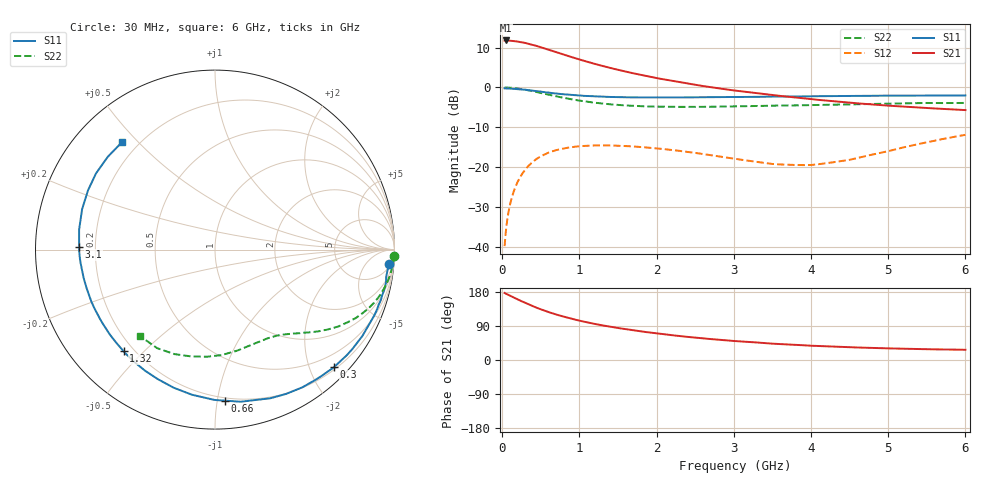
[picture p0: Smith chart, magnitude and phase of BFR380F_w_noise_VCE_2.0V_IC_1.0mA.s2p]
! Infineon Technologies  Discrete & RF Semiconductors
! BFR380F
! VCE =  2.0 V,  IC =  1.0 mA
! Common Emitter S-Parameters:  Nov 2015
# GHz  S  MA  R  50
!  f  S11  S21  S12  S22
! GHz  MAG  ANG  MAG  ANG  MAG  ANG  MAG  ANG
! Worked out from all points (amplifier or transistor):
!   206 points, 30 MHz to 6 GHz, reference 50 ohm
!   highest |S21| = 11.8 dB at 50 MHz (marker M1)
!   |S21| within 3 dB of that: start of sweep to 709.4 MHz
!   unconditionally stable (mu >= 1): 3.084 GHz to 5.249 GHz
!   at 200 MHz: K = 0.05, MSG = 17.6 dB, |S12| = -23.7 dB
!   at 1.56 GHz: K = 0.45, MSG = 9.4 dB, |S12| = -14.7 dB
!   at 6 GHz: K = 0.95, MSG = 3.1 dB, |S12| = -11.9 dB
!   lowest NFmin = 0.89 dB at 450 MHz
!   S11 on the Smith chart (normalised r, x): 30 MHz: 8, -22; 300 MHz: 0.24, -2.42; 660 MHz: 0.18, -1.05; 1.32 GHz: 0.16, -0.44; 3.1 GHz: 0.14, +0.01; 6 GHz: 0.14, +0.45
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0.03  0.972 -4.6  3.859 176.9  0.0101 87.5  0.9973 -2.0
0.05  0.9677 -7.9  3.884 174.3  0.0167 85.4  0.9962 -3.3
0.09  0.9687 -13.8  3.859 170.7  0.0303 82.0  0.9918 -5.9
0.14  0.9614 -21.4  3.825 165.8  0.0466 77.8  0.9829 -9.1
0.2  0.9518 -30.4  3.763 159.7  0.0653 72.6  0.9674 -12.8
0.3  0.9322 -44.6  3.609 150.4  0.0933 64.5  0.9335 -18.6
0.38  0.9115 -55.0  3.442 143.3  0.1124 58.5  0.9009 -22.6
0.45  0.8963 -63.8  3.303 137.4  0.1273 53.8  0.8724 -25.9
0.58  0.862 -78.2  3.012 127.8  0.1483 45.8  0.818 -31.1
0.66  0.8435 -86.2  2.846 122.5  0.1582 41.5  0.7866 -33.8
0.8  0.8188 -99.0  2.576 113.9  0.1715 35.0  0.7371 -38.1
0.9  0.8032 -106.7  2.398 108.6  0.1777 31.0  0.7073 -40.6
1.04  0.7839 -116.3  2.181 102.0  0.1831 26.3  0.6728 -43.6
1.32  0.7617 -132.0  1.835 90.6  0.1866 18.9  0.6229 -49.1
1.64  0.7495 -145.6  1.544 80.0  0.1822 12.9  0.5891 -54.7
2.02  0.747 -157.7  1.296 69.7  0.1704 8.6  0.5724 -61.1
2.58  0.75 -171.3  1.046 57.4  0.1463 7.0  0.5686 -70.8
3.1  0.757 178.9  0.891 48.9  0.123 12.2  0.5781 -79.7
3.6  0.7655 170.0  0.781 42.1  0.1075 24.6  0.59 -88.1
4.1  0.774 161.5  0.696 36.9  0.1083 42.7  0.6 -96.2
5.1  0.7865 145.7  0.581 30.3  0.167 66.4  0.6259 -113.1
6  0.7916 131.0  0.518 27.0  0.2531 67.8  0.6377 -130.7
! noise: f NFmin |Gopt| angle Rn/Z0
0.45  0.89  0.66  41  0.41
0.9  1.11  0.61  80  0.32
1.8  1.88  0.61  134  0.2
1.9  2.18  0.63  138  0.19
2.4  2.61  0.63  155  0.14
3.5  3.96  0.62  -172  0.16
